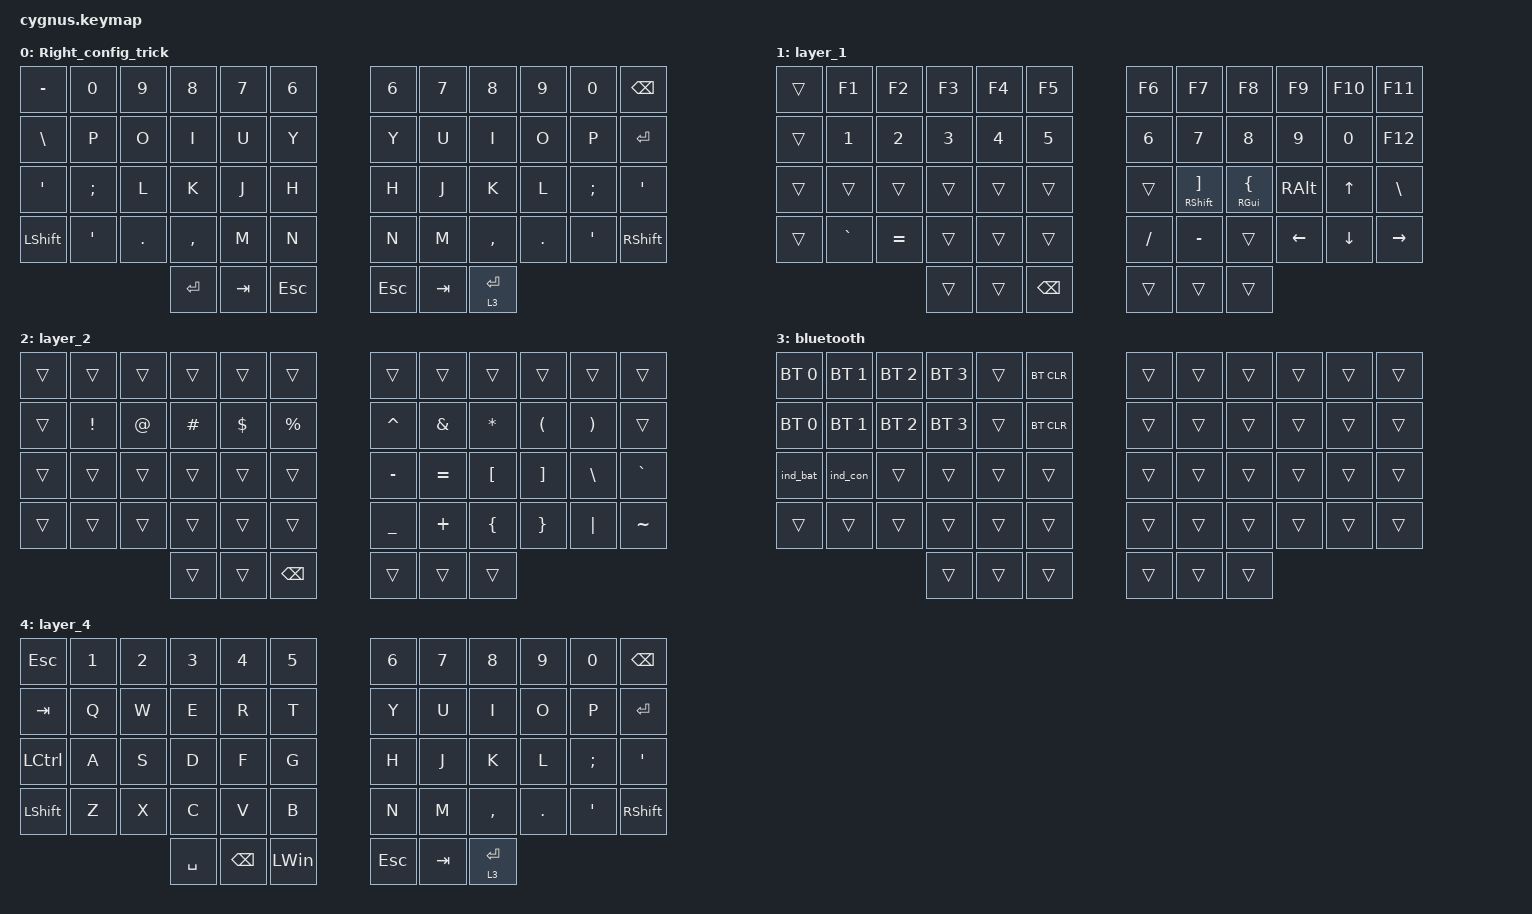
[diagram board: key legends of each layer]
#include <behaviors/rgbled_widget.dtsi>
#include <behaviors.dtsi>
#include <dt-bindings/zmk/bt.h>
#include <dt-bindings/zmk/keys.h>

/ {
    combos {
        compatible = "zmk,combos";

        bluetooth {
            bindings = <&mo 3>;
            key-positions = <41 36>;
        };

        bt2 {
            bindings = <&mo 3>;
            key-positions = <48 53>;
        };
    };

    behaviors {
        hml: hml {
            compatible = "zmk,behavior-hold-tap";
            label = "HOME_ROW_LEFT";
            bindings = <&kp>, <&kp>;

            #binding-cells = <2>;
            hold-trigger-key-positions = <6 7 8 9 10 11 18 19 20 21 22 23 30 31 32 33 34 35 42 43 44 45 46 47>;
            tapping-term-ms = <180>;
            quick-tap-ms = <175>;
            require-prior-idle-ms = <150>;
            flavor = "balanced";
            hold-trigger-on-release;
        };

        hmr: hmr {
            compatible = "zmk,behavior-hold-tap";
            label = "HOME_ROW_RIGHT";
            bindings = <&kp>, <&kp>;

            #binding-cells = <2>;
            tapping-term-ms = <180>;
            quick-tap-ms = <175>;
            require-prior-idle-ms = <150>;
            flavor = "balanced";
            hold-trigger-key-positions = <0 1 2 3 4 5 12 13 14 15 16 17 24 25 26 27 28 29 36 37 38 39 40 41>;
            hold-trigger-on-release;
        };
    };

    keymap {
        compatible = "zmk,keymap";

        Right_config_trick {
            // -----------------------------------------------------------------------------------------
            // |  ESC |  1  |  2  |  3  |  4  |  5  |   |  6  |  7   |  8  |  9  |  0  |  ?   |
            // |  TAB |  Q  |  W  |  E  |  R  |  T  |   |  Y  |  U   |  I  |  O  |  P  | BKSP |
            // | CTRL |  A  |  S  |  D  |  F  |  G  |   |  H  |  J   |  K  |  L  |  ;  |  '   |
            // | SHFT |  Z  |  X  |  C  |  V  |  B  |   |  N  |  M   |  ,  |  .  |  /  | ESC  |
            //                    | GUI | LWR | SPC |   | ENT | RSE  | ALT |

            bindings = <
&kp MINUS         &kp N0            &kp N9   &kp N8     &kp N7   &kp NUMBER_6    &kp N6      &kp N7   &kp N8       &kp N9   &kp N0            &kp BSPC
&kp BACKSLASH     &kp P             &kp O    &kp I      &kp U    &kp Y           &kp Y       &kp U    &kp I        &kp O    &kp P             &kp ENTER
&kp SINGLE_QUOTE  &kp SEMI          &kp L    &kp K      &kp J    &kp H           &kp H       &kp J    &kp K        &kp L    &kp SEMI          &kp SQT
&kp LSHFT         &kp SINGLE_QUOTE  &kp DOT  &kp COMMA  &kp M    &kp N           &kp N       &kp M    &kp COMMA    &kp DOT  &kp SINGLE_QUOTE  &kp RIGHT_SHIFT
                                             &kp ENTER  &kp TAB  &kp ESCAPE      &kp ESCAPE  &kp TAB  &lt 3 ENTER
            >;
        };

        layer_1 {
            // -----------------------------------------------------------------------------------------
            // |  TAB |  F1 |  F2 |  F3 |  F4 |  F5 |   |  F6 |  F7 |  F8 |  F9 | F10 | BKSP |
            // |  TAB |  1  |  2  |  3  |  4  |  5  |   |  6  |  7  |  8  |  9  |  0  | BKSP |
            // | BTCLR| BT1 | BT2 | BT3 | BT4 | BT5 |   | LFT | DWN |  UP | RGT |     |      |
            // | SHFT |     |     |     |     |     |   |     |     |     |     |     |      |
            //                    | GUI |     | SPC |   | ENT |     | ALT |

            bindings = <
&trans  &kp F1        &kp F2        &kp F3        &kp F4        &kp F5           &kp F6     &kp F7                          &kp F8                     &kp F9         &kp F10       &kp F11
&trans  &kp NUMBER_1  &kp NUMBER_2  &kp NUMBER_3  &kp NUMBER_4  &kp N5           &kp N6     &kp N7                          &kp N8                     &kp N9         &kp N0        &kp F12
&trans  &trans        &trans        &trans        &trans        &trans           &trans     &hmr RIGHT_SHIFT RIGHT_BRACKET  &hmr RIGHT_GUI LEFT_BRACE  &kp RIGHT_ALT  &kp UP_ARROW  &kp BSLH
&trans  &kp GRAVE     &kp EQUAL     &trans        &trans        &trans           &kp SLASH  &kp MINUS                       &trans                     &kp LEFT       &kp DOWN      &kp RIGHT
                                    &trans        &trans        &kp BACKSPACE    &trans     &trans                          &trans
            >;
        };

        layer_2 {
            // -----------------------------------------------------------------------------------------
            // |  TAB |  !  |  @  |  #  |  $  |  %  |   |  ^  |  &  |  *  |  (  |  )  | BKSP |
            // | CTRL |     |     |     |     |     |   |  -  |  =  |  [  |  ]  |  \  |  `   |
            // | SHFT |     |     |     |     |     |   |  _  |  +  |  {  |  }  | "|" |  ~   |
            //                    | GUI |     | SPC |   | ENT |     | ALT |

            bindings = <
&trans  &trans    &trans  &trans    &trans    &trans           &trans     &trans     &trans     &trans    &trans    &trans
&trans  &kp EXCL  &kp AT  &kp HASH  &kp DLLR  &kp PRCNT        &kp CARET  &kp AMPS   &kp ASTRK  &kp LPAR  &kp RPAR  &trans
&trans  &trans    &trans  &trans    &trans    &trans           &kp MINUS  &kp EQUAL  &kp LBKT   &kp RBKT  &kp BSLH  &kp GRAVE
&trans  &trans    &trans  &trans    &trans    &trans           &kp UNDER  &kp PLUS   &kp LBRC   &kp RBRC  &kp PIPE  &kp TILDE
                          &trans    &trans    &kp BACKSPACE    &trans     &trans     &trans
            >;
        };

        bluetooth {
            bindings = <
&bt BT_SEL 0  &bt BT_SEL 1  &bt BT_SEL 2  &bt BT_SEL 3  &trans  &bt BT_CLR    &trans  &trans  &trans  &trans  &trans  &trans
&bt BT_SEL 0  &bt BT_SEL 1  &bt BT_SEL 2  &bt BT_SEL 3  &trans  &bt BT_CLR    &trans  &trans  &trans  &trans  &trans  &trans
&ind_bat      &ind_con      &trans        &trans        &trans  &trans        &trans  &trans  &trans  &trans  &trans  &trans
&trans        &trans        &trans        &trans        &trans  &trans        &trans  &trans  &trans  &trans  &trans  &trans
                                          &trans        &trans  &trans        &trans  &trans  &trans
            >;
        };

        layer_4 {
            bindings = <
&kp ESCAPE  &kp N1  &kp N2  &kp N3     &kp N4         &kp N5      &kp N6      &kp N7   &kp N8       &kp N9   &kp N0            &kp BSPC
&kp TAB     &kp Q   &kp W   &kp E      &kp R          &kp T       &kp Y       &kp U    &kp I        &kp O    &kp P             &kp ENTER
&kp LCTRL   &kp A   &kp S   &kp D      &kp F          &kp G       &kp H       &kp J    &kp K        &kp L    &kp SEMI          &kp SQT
&kp LSHFT   &kp Z   &kp X   &kp C      &kp V          &kp B       &kp N       &kp M    &kp COMMA    &kp DOT  &kp SINGLE_QUOTE  &kp RIGHT_SHIFT
                            &kp SPACE  &kp BACKSPACE  &kp LWIN    &kp ESCAPE  &kp TAB  &lt 3 ENTER
            >;
        };
    };
};
